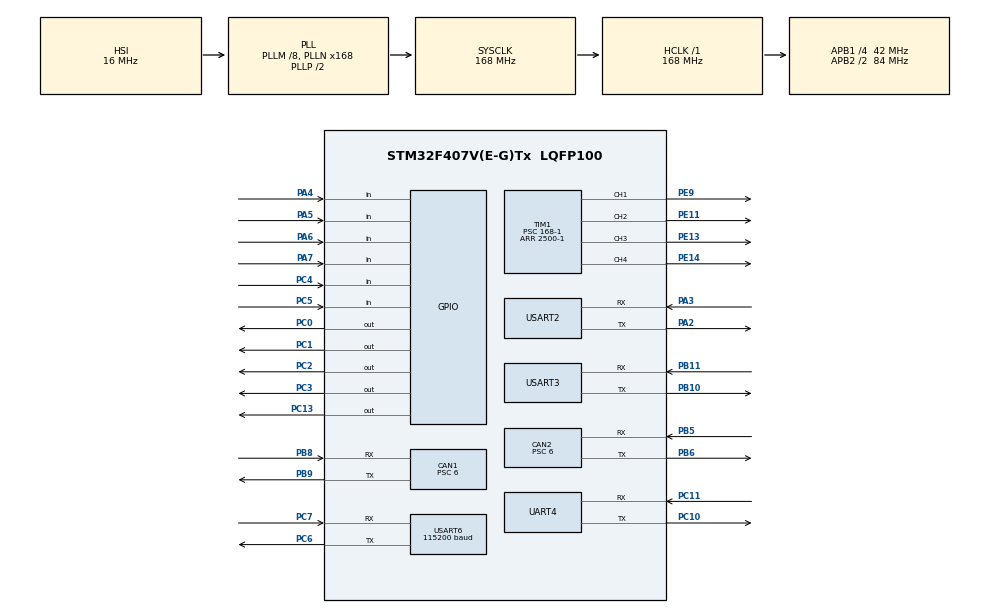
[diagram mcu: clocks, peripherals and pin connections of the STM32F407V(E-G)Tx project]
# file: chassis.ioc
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CAN1.BS1=CAN_BS1_3TQ
CAN1.BS2=CAN_BS2_3TQ
CAN1.CalculateBaudRate=1000000
CAN1.CalculateTimeBit=1000
CAN1.CalculateTimeQuantum=142.85714285714286
CAN1.Prescaler=6
CAN2.BS1=CAN_BS1_3TQ
CAN2.BS2=CAN_BS2_3TQ
CAN2.CalculateBaudRate=1000000
CAN2.CalculateTimeBit=1000
CAN2.CalculateTimeQuantum=142.85714285714286
CAN2.Mode=CAN_MODE_NORMAL
CAN2.Prescaler=6
Dma.Request0=UART4_RX
Dma.Request1=USART6_RX
Dma.Request2=USART2_RX
Dma.UART4_RX.0.Direction=DMA_PERIPH_TO_MEMORY
Dma.UART4_RX.0.FIFOMode=DMA_FIFOMODE_DISABLE
Dma.UART4_RX.0.Instance=DMA1_Stream2
Dma.UART4_RX.0.MemDataAlignment=DMA_MDATAALIGN_BYTE
Dma.UART4_RX.0.MemInc=DMA_MINC_ENABLE
Dma.UART4_RX.0.Mode=DMA_NORMAL
Dma.UART4_RX.0.PeriphDataAlignment=DMA_PDATAALIGN_BYTE
Dma.UART4_RX.0.PeriphInc=DMA_PINC_DISABLE
Dma.UART4_RX.0.Priority=DMA_PRIORITY_LOW
Dma.USART2_RX.2.Direction=DMA_PERIPH_TO_MEMORY
Dma.USART2_RX.2.FIFOMode=DMA_FIFOMODE_DISABLE
Dma.USART2_RX.2.Instance=DMA1_Stream5
Dma.USART2_RX.2.MemDataAlignment=DMA_MDATAALIGN_BYTE
Dma.USART2_RX.2.MemInc=DMA_MINC_ENABLE
Dma.USART2_RX.2.Mode=DMA_NORMAL
Dma.USART2_RX.2.PeriphDataAlignment=DMA_PDATAALIGN_BYTE
Dma.USART2_RX.2.PeriphInc=DMA_PINC_DISABLE
Dma.USART2_RX.2.Priority=DMA_PRIORITY_LOW
Dma.USART6_RX.1.Direction=DMA_PERIPH_TO_MEMORY
Dma.USART6_RX.1.FIFOMode=DMA_FIFOMODE_DISABLE
Dma.USART6_RX.1.Instance=DMA2_Stream1
Dma.USART6_RX.1.MemDataAlignment=DMA_MDATAALIGN_BYTE
Dma.USART6_RX.1.MemInc=DMA_MINC_ENABLE
Dma.USART6_RX.1.Mode=DMA_CIRCULAR
Dma.USART6_RX.1.PeriphDataAlignment=DMA_PDATAALIGN_BYTE
Dma.USART6_RX.1.PeriphInc=DMA_PINC_DISABLE
Dma.USART6_RX.1.Priority=DMA_PRIORITY_LOW
FREERTOS.INCLUDE_vTaskDelayUntil=1
FREERTOS.Tasks01=defaultTask,0,128,StartDefaultTask,Default,NULL,Dynamic,NULL,NULL
FREERTOS.configUSE_TIMERS=1
Mcu.Family=STM32F4
Mcu.Name=STM32F407V(E-G)Tx
Mcu.Package=LQFP100
NVIC.CAN1_RX0_IRQn=true\:5\:0\:false\:false\:true\:true\:true\:true\:true
NVIC.CAN1_TX_IRQn=true\:5\:0\:false\:false\:true\:true\:true\:true\:true
NVIC.CAN2_RX1_IRQn=true\:5\:0\:false\:false\:true\:true\:true\:true\:true
NVIC.CAN2_TX_IRQn=true\:5\:0\:false\:false\:true\:true\:true\:true\:true
NVIC.DMA1_Stream2_IRQn=true\:5\:0\:false\:false\:true\:true\:false\:true\:true
NVIC.DMA1_Stream5_IRQn=true\:5\:0\:false\:false\:true\:true\:false\:true\:true
NVIC.DMA2_Stream1_IRQn=true\:5\:0\:false\:false\:true\:true\:false\:true\:true
NVIC.PriorityGroup=NVIC_PRIORITYGROUP_4
NVIC.TIM8_TRG_COM_TIM14_IRQn=true\:15\:0\:false\:false\:true\:false\:true\:true\:true
NVIC.TimeBase=TIM8_TRG_COM_TIM14_IRQn
NVIC.TimeBaseIP=TIM14
NVIC.UART4_IRQn=true\:5\:0\:false\:false\:true\:true\:true\:true\:true
NVIC.USART6_IRQn=true\:5\:0\:false\:false\:true\:true\:true\:true\:true
PA13.Mode=Serial_Wire
PA13.Signal=SYS_JTMS-SWDIO
PA14.Mode=Serial_Wire
PA14.Signal=SYS_JTCK-SWCLK
PA2.Mode=Asynchronous
PA2.Signal=USART2_TX
PA3.Mode=Asynchronous
PA3.Signal=USART2_RX
PA4.GPIO_PuPd=GPIO_PULLDOWN
PA4.Signal=GPIO_Input
PA5.GPIO_PuPd=GPIO_PULLDOWN
PA5.Signal=GPIO_Input
PA6.GPIO_PuPd=GPIO_PULLDOWN
PA6.Signal=GPIO_Input
PA7.GPIO_PuPd=GPIO_PULLDOWN
PA7.Signal=GPIO_Input
PB10.Mode=Asynchronous
PB10.Signal=USART3_TX
PB11.Mode=Asynchronous
PB11.Signal=USART3_RX
PB5.Mode=CAN_Activate
PB5.Signal=CAN2_RX
PB6.Mode=CAN_Activate
PB6.Signal=CAN2_TX
PB8.Mode=CAN_Activate
PB8.Signal=CAN1_RX
PB9.Mode=CAN_Activate
PB9.Signal=CAN1_TX
PC0.Signal=GPIO_Output
PC1.Signal=GPIO_Output
PC10.Mode=Asynchronous
PC10.Signal=UART4_TX
PC11.Mode=Asynchronous
PC11.Signal=UART4_RX
PC13-ANTI_TAMP.Signal=GPIO_Output
PC2.Signal=GPIO_Output
PC3.Signal=GPIO_Output
PC4.GPIO_PuPd=GPIO_PULLDOWN
PC4.Signal=GPIO_Input
PC5.GPIO_PuPd=GPIO_PULLDOWN
PC5.Signal=GPIO_Input
PC6.Mode=Asynchronous
PC6.Signal=USART6_TX
PC7.Mode=Asynchronous
PC7.Signal=USART6_RX
PE11.Signal=S_TIM1_CH2
PE13.Signal=S_TIM1_CH3
PE14.Signal=S_TIM1_CH4
PE9.Signal=S_TIM1_CH1
PH0-OSC_IN.Mode=HSE-External-Oscillator
PH0-OSC_IN.Signal=RCC_OSC_IN
PH1-OSC_OUT.Mode=HSE-External-Oscillator
PH1-OSC_OUT.Signal=RCC_OSC_OUT
ProjectManager.HeapSize=0x200
ProjectManager.StackSize=0x400
ProjectManager.TargetToolchain=MDK-ARM V5
RCC.48MHZClocksFreq_Value=84000000
RCC.AHBFreq_Value=168000000
RCC.APB1CLKDivider=RCC_HCLK_DIV4
RCC.APB1Freq_Value=42000000
RCC.APB1TimFreq_Value=84000000
RCC.APB2CLKDivider=RCC_HCLK_DIV2
RCC.APB2Freq_Value=84000000
RCC.APB2TimFreq_Value=168000000
RCC.CortexFreq_Value=168000000
RCC.HCLKFreq_Value=168000000
RCC.HSE_VALUE=25000000
RCC.HSI_VALUE=16000000
RCC.LSE_VALUE=32768
RCC.PLLM=8
RCC.PLLN=168
RCC.SYSCLKFreq_VALUE=168000000
RCC.SYSCLKSource=RCC_SYSCLKSOURCE_PLLCLK
RCC.VCOOutputFreq_Value=336000000
SH.S_TIM1_CH1.0=TIM1_CH1,PWM Generation1 CH1
SH.S_TIM1_CH2.0=TIM1_CH2,PWM Generation2 CH2
SH.S_TIM1_CH3.0=TIM1_CH3,PWM Generation3 CH3
SH.S_TIM1_CH4.0=TIM1_CH4,PWM Generation4 CH4
TIM1.Channel-PWM\ Generation1\ CH1=TIM_CHANNEL_1
TIM1.Channel-PWM\ Generation2\ CH2=TIM_CHANNEL_2
TIM1.Channel-PWM\ Generation3\ CH3=TIM_CHANNEL_3
TIM1.Channel-PWM\ Generation4\ CH4=TIM_CHANNEL_4
TIM1.Period=2500-1
TIM1.Prescaler=168-1
UART4.VirtualMode=Asynchronous
USART2.VirtualMode=VM_ASYNC
USART3.VirtualMode=VM_ASYNC
USART6.BaudRate=115200
USART6.VirtualMode=VM_ASYNC
VP_FREERTOS_VS_CMSIS_V1.Mode=CMSIS_V1
VP_SYS_VS_tim14.Mode=TIM14
VP_TIM1_VS_ClockSourceINT.Mode=Internal
board=custom

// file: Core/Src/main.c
/* USER CODE BEGIN Header */
/**
  ******************************************************************************
  * @file           : main.c
  * @brief          : Main program body
  ******************************************************************************
  * @attention
  *
  * Copyright (c) 2024 STMicroelectronics.
  * All rights reserved.
  *
  * This software is licensed under terms that can be found in the LICENSE file
  * in the root directory of this software component.
  * If no LICENSE file comes with this software, it is provided AS-IS.
  *
  ******************************************************************************
  */
/* USER CODE END Header */
#include "main.h"
#include "cmsis_os.h"
#include "can.h"
#include "dma.h"
#include "tim.h"
#include "usart.h"
#include "gpio.h"

/* USER CODE BEGIN Includes */

#include "RMLibHead.h"
#include "CANDRive.h"
#include "motor.h"
#include "PID.h"
#include "RemoteControl.h"
#include "SteeringWheel.h"

/* USER CODE END Includes */

/* USER CODE BEGIN PD */
#define HAL_CAN_MODULE_ENABLED
/* USER CODE END PD */

/* USER CODE BEGIN PM */
extern CAN_HandleTypeDef hcan2;
/* USER CODE END PM */

void SystemClock_Config(void);
void MX_FREERTOS_Init(void);

int main(void)
{

  /* MCU Configuration--------------------------------------------------------*/

  /* Reset of all peripherals, Initializes the Flash interface and the Systick. */

  HAL_Init();

  /* Configure the system clock */
  SystemClock_Config();

  /* Initialize all configured peripherals */
  MX_GPIO_Init();
  MX_DMA_Init();
  MX_CAN1_Init();
  MX_CAN2_Init();
  MX_UART4_Init();
  MX_USART3_UART_Init();
  MX_USART6_UART_Init();
  MX_USART2_UART_Init();
  MX_TIM1_Init();
  /* USER CODE BEGIN 2 */
	HAL_TIM_PWM_Start(&htim1,TIM_CHANNEL_1);
	HAL_TIM_PWM_Start(&htim1,TIM_CHANNEL_2);
	HAL_TIM_PWM_Start(&htim1,TIM_CHANNEL_3);
	HAL_TIM_PWM_Start(&htim1,TIM_CHANNEL_4);
  CanFilter_Init(&hcan1);
  CanFilter_Init(&hcan2);

  HAL_CAN_Start(&hcan1);
  HAL_CAN_Start(&hcan2);
	HAL_CAN_ActivateNotification(&hcan1,CAN_IT_RX_FIFO0_MSG_PENDING);
  HAL_CAN_ActivateNotification(&hcan2,CAN_IT_RX_FIFO1_MSG_PENDING);
	HAL_CAN_ActivateNotification(&hcan1,CAN_IT_TX_MAILBOX_EMPTY);
	HAL_CAN_ActivateNotification(&hcan2,CAN_IT_TX_MAILBOX_EMPTY);
  /* USER CODE END 2 */

  /* Call init function for freertos objects (in cmsis_os2.c) */
  MX_FREERTOS_Init();

  /* Start scheduler */
  osKernelStart();

  /* We should never get here as control is now taken by the scheduler */

  /* Infinite loop */
  while (1)
  {

  }
}

void SystemClock_Config(void)
{
  RCC_OscInitTypeDef RCC_OscInitStruct = {0};
  RCC_ClkInitTypeDef RCC_ClkInitStruct = {0};

  /** Configure the main internal regulator output voltage
  */
  __HAL_RCC_PWR_CLK_ENABLE();
  __HAL_PWR_VOLTAGESCALING_CONFIG(PWR_REGULATOR_VOLTAGE_SCALE1);

  /** Initializes the RCC Oscillators according to the specified parameters
  * in the RCC_OscInitTypeDef structure.
  */
  RCC_OscInitStruct.OscillatorType = RCC_OSCILLATORTYPE_HSI;
  RCC_OscInitStruct.HSIState = RCC_HSI_ON;
  RCC_OscInitStruct.HSICalibrationValue = RCC_HSICALIBRATION_DEFAULT;
  RCC_OscInitStruct.PLL.PLLState = RCC_PLL_ON;
  RCC_OscInitStruct.PLL.PLLSource = RCC_PLLSOURCE_HSI;
  RCC_OscInitStruct.PLL.PLLM = 8;
  RCC_OscInitStruct.PLL.PLLN = 168;
  RCC_OscInitStruct.PLL.PLLP = RCC_PLLP_DIV2;
  RCC_OscInitStruct.PLL.PLLQ = 4;
  if (HAL_RCC_OscConfig(&RCC_OscInitStruct) != HAL_OK)
  {
    Error_Handler();
  }

  /** Initializes the CPU, AHB and APB buses clocks
  */
  RCC_ClkInitStruct.ClockType = RCC_CLOCKTYPE_HCLK|RCC_CLOCKTYPE_SYSCLK
                              |RCC_CLOCKTYPE_PCLK1|RCC_CLOCKTYPE_PCLK2;
  RCC_ClkInitStruct.SYSCLKSource = RCC_SYSCLKSOURCE_PLLCLK;
  RCC_ClkInitStruct.AHBCLKDivider = RCC_SYSCLK_DIV1;
  RCC_ClkInitStruct.APB1CLKDivider = RCC_HCLK_DIV4;
  RCC_ClkInitStruct.APB2CLKDivider = RCC_HCLK_DIV2;

  if (HAL_RCC_ClockConfig(&RCC_ClkInitStruct, FLASH_LATENCY_5) != HAL_OK)
  {
    Error_Handler();
  }
}

void HAL_TIM_PeriodElapsedCallback(TIM_HandleTypeDef *htim)
{
  if (htim->Instance == TIM14) {
    HAL_IncTick();
  }
}

void Error_Handler(void)
{
  __disable_irq();
  while (1)
  {
  }
}

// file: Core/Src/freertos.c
/* USER CODE BEGIN Header */
/**
  ******************************************************************************
  * File Name          : freertos.c
  * Description        : Code for freertos applications
  ******************************************************************************
  * @attention
  *
  * Copyright (c) 2024 STMicroelectronics.
  * All rights reserved.
  *
  * This software is licensed under terms that can be found in the LICENSE file
  * in the root directory of this software component.
  * If no LICENSE file comes with this software, it is provided AS-IS.
  *
  ******************************************************************************
  */
/* USER CODE END Header */

#include "FreeRTOS.h"
#include "task.h"
#include "main.h"
#include "cmsis_os.h"

/* USER CODE BEGIN Includes */
#include "semphr.h"
#include "ChassisControl.h"
#include "RemoteControl.h"
#include "Action.h"
/* USER CODE END Includes */

/* USER CODE BEGIN PD */
QueueHandle_t launch_action_semphr;
QueueHandle_t move_action_semphr;
QueueHandle_t jump_action_semphr;
/* USER CODE END PD */

/* USER CODE BEGIN Variables */
//TaskHandle_t RemoteControlTaskHandle;
//TaskHandle_t ChassisControlTaskHandle;
/* USER CODE END Variables */
osThreadId defaultTaskHandle;

void StartDefaultTask(void const * argument);

void MX_FREERTOS_Init(void); /* (MISRA C 2004 rule 8.1) */

/* GetIdleTaskMemory prototype (linked to static allocation support) */
void vApplicationGetIdleTaskMemory( StaticTask_t **ppxIdleTaskTCBBuffer, StackType_t **ppxIdleTaskStackBuffer, uint32_t *pulIdleTaskStackSize );

/* GetTimerTaskMemory prototype (linked to static allocation support) */
void vApplicationGetTimerTaskMemory( StaticTask_t **ppxTimerTaskTCBBuffer, StackType_t **ppxTimerTaskStackBuffer, uint32_t *pulTimerTaskStackSize );

/* USER CODE BEGIN GET_IDLE_TASK_MEMORY */
static StaticTask_t xIdleTaskTCBBuffer;
static StackType_t xIdleStack[configMINIMAL_STACK_SIZE];

void vApplicationGetIdleTaskMemory( StaticTask_t **ppxIdleTaskTCBBuffer, StackType_t **ppxIdleTaskStackBuffer, uint32_t *pulIdleTaskStackSize )
{
  *ppxIdleTaskTCBBuffer = &xIdleTaskTCBBuffer;
  *ppxIdleTaskStackBuffer = &xIdleStack[0];
  *pulIdleTaskStackSize = configMINIMAL_STACK_SIZE;
  /* place for user code */
}
/* USER CODE END GET_IDLE_TASK_MEMORY */

/* USER CODE BEGIN GET_TIMER_TASK_MEMORY */
static StaticTask_t xTimerTaskTCBBuffer;
static StackType_t xTimerStack[configTIMER_TASK_STACK_DEPTH];

void vApplicationGetTimerTaskMemory( StaticTask_t **ppxTimerTaskTCBBuffer, StackType_t **ppxTimerTaskStackBuffer, uint32_t *pulTimerTaskStackSize )
{
  *ppxTimerTaskTCBBuffer = &xTimerTaskTCBBuffer;
  *ppxTimerTaskStackBuffer = &xTimerStack[0];
  *pulTimerTaskStackSize = configTIMER_TASK_STACK_DEPTH;
  /* place for user code */
}
/* USER CODE END GET_TIMER_TASK_MEMORY */

void MX_FREERTOS_Init(void) {
  /* USER CODE BEGIN Init */
TaskHandle_t rubbsh;
  /* USER CODE END Init */

  /* USER CODE BEGIN RTOS_SEMAPHORES */
  /* add semaphores, ... */
	launch_action_semphr=xSemaphoreCreateBinary();
	move_action_semphr=xSemaphoreCreateBinary();
	jump_action_semphr=xSemaphoreCreateBinary();
  /* USER CODE END RTOS_SEMAPHORES */

  /* Create the thread(s) */
  /* definition and creation of defaultTask */
  osThreadDef(defaultTask, StartDefaultTask, osPriorityNormal, 0, 128);
  defaultTaskHandle = osThreadCreate(osThread(defaultTask), NULL);

  /* USER CODE BEGIN RTOS_THREADS */
  xTaskCreate(ChassisControl,"ChassisCtrl",256,NULL,4,&rubbsh);
	xTaskCreate(UartRecvTask,"Connect",128,NULL,6,&rubbsh);
	xTaskCreate(SwitchMoveMode,"switch1",64,NULL,3,&rubbsh);
	xTaskCreate(SwitchJumpMode,"switch2",64,NULL,3,&rubbsh);
	xTaskCreate(SwitchLaunchMode,"switch3",64,NULL,3,&rubbsh);

  /* USER CODE END RTOS_THREADS */

}

void StartDefaultTask(void const * argument)
{
  /* USER CODE BEGIN StartDefaultTask */
  /* Infinite loop */
	vTaskDelay(pdMS_TO_TICKS(2000));

  vTaskDelete(NULL);
  for(;;)
  {
    osDelay(1);
  }
  /* USER CODE END StartDefaultTask */
}
